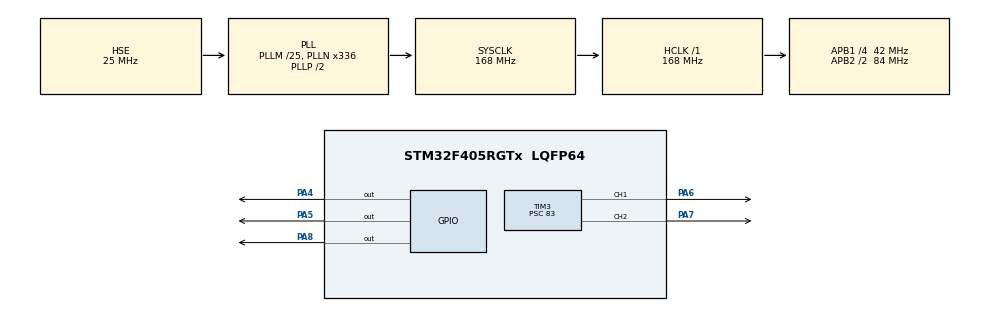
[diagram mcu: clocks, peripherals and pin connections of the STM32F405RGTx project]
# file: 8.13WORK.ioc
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Mcu.Family=STM32F4
Mcu.Name=STM32F405RGTx
Mcu.Package=LQFP64
NVIC.PriorityGroup=NVIC_PRIORITYGROUP_4
NVIC.TIM1_UP_TIM10_IRQn=true\:0\:0\:false\:false\:true\:true\:true\:true
NVIC.TIM3_IRQn=true\:0\:0\:false\:false\:true\:true\:true\:true
NVIC.TIM8_UP_TIM13_IRQn=true\:15\:0\:false\:false\:true\:false\:true\:true
NVIC.TimeBase=TIM8_UP_TIM13_IRQn
NVIC.TimeBaseIP=TIM8
PA13.Mode=Serial_Wire
PA13.Signal=SYS_JTMS-SWDIO
PA14.Mode=Serial_Wire
PA14.Signal=SYS_JTCK-SWCLK
PA4.Signal=GPIO_Output
PA5.Signal=GPIO_Output
PA6.Signal=S_TIM3_CH1
PA7.Signal=S_TIM3_CH2
PA8.Signal=GPIO_Output
PH0-OSC_IN.Mode=HSE-External-Oscillator
PH0-OSC_IN.Signal=RCC_OSC_IN
PH1-OSC_OUT.Mode=HSE-External-Oscillator
PH1-OSC_OUT.Signal=RCC_OSC_OUT
ProjectManager.HeapSize=0x400
ProjectManager.StackSize=0x800
ProjectManager.TargetToolchain=MDK-ARM V5.32
RCC.48MHZClocksFreq_Value=84000000
RCC.AHBFreq_Value=168000000
RCC.APB1CLKDivider=RCC_HCLK_DIV4
RCC.APB1Freq_Value=42000000
RCC.APB1TimFreq_Value=84000000
RCC.APB2CLKDivider=RCC_HCLK_DIV2
RCC.APB2Freq_Value=84000000
RCC.APB2TimFreq_Value=168000000
RCC.CortexFreq_Value=168000000
RCC.HCLKFreq_Value=168000000
RCC.HSE_VALUE=25000000
RCC.HSI_VALUE=16000000
RCC.LSE_VALUE=32768
RCC.PLLM=25
RCC.PLLN=336
RCC.PLLSourceVirtual=RCC_PLLSOURCE_HSE
RCC.SYSCLKFreq_VALUE=168000000
RCC.SYSCLKSource=RCC_SYSCLKSOURCE_PLLCLK
RCC.VCOOutputFreq_Value=336000000
SH.S_TIM3_CH1.0=TIM3_CH1,PWM Generation1 CH1
SH.S_TIM3_CH2.0=TIM3_CH2,PWM Generation2 CH2
TIM1.Period=9999
TIM1.Prescaler=83
TIM3.AutoReloadPreload=TIM_AUTORELOAD_PRELOAD_ENABLE
TIM3.Channel-PWM\ Generation1\ CH1=TIM_CHANNEL_1
TIM3.Channel-PWM\ Generation2\ CH2=TIM_CHANNEL_2
TIM3.Period=999
TIM3.Prescaler=83
VP_SYS_VS_tim8.Mode=TIM8
VP_TIM1_VS_ClockSourceINT.Mode=Internal
VP_TIM3_VS_ClockSourceINT.Mode=Internal
board=custom

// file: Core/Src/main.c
/* USER CODE BEGIN Header */
/**
  ******************************************************************************
  * @file           : main.c
  * @brief          : Main program body
  ******************************************************************************
  * @attention
  *
  * Copyright (c) 2025 STMicroelectronics.
  * All rights reserved.
  *
  * This software is licensed under terms that can be found in the LICENSE file
  * in the root directory of this software component.
  * If no LICENSE file comes with this software, it is provided AS-IS.
  *
  ******************************************************************************
  */
/* USER CODE END Header */
#include "main.h"
#include "tim.h"
#include "gpio.h"

/* USER CODE BEGIN Includes */
#include "stdio.h"
#include "EventRecorder.h"
#include "LED_BEEP.h"
/* USER CODE END Includes */

void SystemClock_Config(void);

/* USER CODE BEGIN 0 */
	int beep_count=2;
	int sec=40;
	int flag=0;
/* USER CODE END 0 */

int main(void)
{

  /* USER CODE BEGIN 1 */
	/*commponent configure*/
	EventRecorderInitialize(EventRecordAll,1U);
	EventRecorderStart();
  /* USER CODE END 1 */

  /* MCU Configuration--------------------------------------------------------*/

  /* Reset of all peripherals, Initializes the Flash interface and the Systick. */
  HAL_Init();

  /* Configure the system clock */
  SystemClock_Config();

  /* Initialize all configured peripherals */
  MX_GPIO_Init();
  MX_TIM1_Init();
  MX_TIM3_Init();
  /* USER CODE BEGIN 2 */
	BEEP_ALARM(5);/*5 beep first*/
	LED1_OFF;LED2_ON;
  /* USER CODE END 2 */

  /* Infinite loop */
  /* USER CODE BEGIN WHILE */
	__HAL_TIM_SetCompare(&htim3,TIM_CHANNEL_1,0);
	__HAL_TIM_SetCompare(&htim3,TIM_CHANNEL_2,0);
  while (1)
  {
    /* USER CODE END WHILE */

    /* USER CODE BEGIN 3 */
//		EventStartA(0);
//		if(beep_count>0){printf("%d\n",beep_count);BEEP_ALARM(1);beep_count--;}
//		LED_WATER();
//		if(beep_count==0){printf("beep_over\n");beep_count--;}
//		EventStopA(0);
		//EventStartA(0);
		if(sec%50<=25)
		{
	  	__HAL_TIM_SetCompare(&htim3,TIM_CHANNEL_2,1000-sec);
  		__HAL_TIM_SetCompare(&htim3,TIM_CHANNEL_1,sec);
		}
		//printf("nihao\n");
		//EventStopA(0);
  }
  /* USER CODE END 3 */
}

void SystemClock_Config(void)
{
  RCC_OscInitTypeDef RCC_OscInitStruct = {0};
  RCC_ClkInitTypeDef RCC_ClkInitStruct = {0};

  /** Configure the main internal regulator output voltage
  */
  __HAL_RCC_PWR_CLK_ENABLE();
  __HAL_PWR_VOLTAGESCALING_CONFIG(PWR_REGULATOR_VOLTAGE_SCALE1);

  /** Initializes the RCC Oscillators according to the specified parameters
  * in the RCC_OscInitTypeDef structure.
  */
  RCC_OscInitStruct.OscillatorType = RCC_OSCILLATORTYPE_HSE;
  RCC_OscInitStruct.HSEState = RCC_HSE_ON;
  RCC_OscInitStruct.PLL.PLLState = RCC_PLL_ON;
  RCC_OscInitStruct.PLL.PLLSource = RCC_PLLSOURCE_HSE;
  RCC_OscInitStruct.PLL.PLLM = 25;
  RCC_OscInitStruct.PLL.PLLN = 336;
  RCC_OscInitStruct.PLL.PLLP = RCC_PLLP_DIV2;
  RCC_OscInitStruct.PLL.PLLQ = 4;
  if (HAL_RCC_OscConfig(&RCC_OscInitStruct) != HAL_OK)
  {
    Error_Handler();
  }

  /** Initializes the CPU, AHB and APB buses clocks
  */
  RCC_ClkInitStruct.ClockType = RCC_CLOCKTYPE_HCLK|RCC_CLOCKTYPE_SYSCLK
                              |RCC_CLOCKTYPE_PCLK1|RCC_CLOCKTYPE_PCLK2;
  RCC_ClkInitStruct.SYSCLKSource = RCC_SYSCLKSOURCE_PLLCLK;
  RCC_ClkInitStruct.AHBCLKDivider = RCC_SYSCLK_DIV1;
  RCC_ClkInitStruct.APB1CLKDivider = RCC_HCLK_DIV4;
  RCC_ClkInitStruct.APB2CLKDivider = RCC_HCLK_DIV2;

  if (HAL_RCC_ClockConfig(&RCC_ClkInitStruct, FLASH_LATENCY_5) != HAL_OK)
  {
    Error_Handler();
  }
}

void HAL_TIM_PeriodElapsedCallback(TIM_HandleTypeDef *htim)
{
  if (htim->Instance == TIM8)
  {
    HAL_IncTick();
  }
  /* USER CODE BEGIN Callback 1 */
	if(htim->Instance == TIM1)
	{

		if(flag==0)
		{
			sec+=10;
			if(sec%1000==0){  EventStopA(0);printf("TIM1_Break\n");	EventStartA(0);flag=1;}
	  	if(sec%200==100){LED1_ON;LED2_OFF;}
		  else if(sec%200==0){LED1_OFF;LED2_ON;}
		}
	  else
		{
			sec-=10;
			if(sec%1000==0){
			  EventStopA(0);printf("TIM1_Break\n");	EventStartA(0);
			flag=0;}
	  	if(sec%200==100){LED1_ON;LED2_OFF;}
		  else if(sec%200==0){LED1_OFF;LED2_ON;}
		}

	}
  /* USER CODE END Callback 1 */
}

void Error_Handler(void)
{
  __disable_irq();
  while (1)
  {
  }
}
